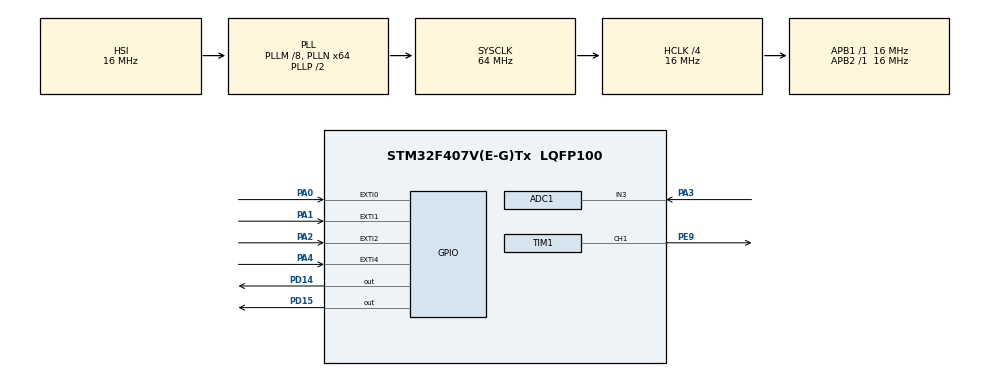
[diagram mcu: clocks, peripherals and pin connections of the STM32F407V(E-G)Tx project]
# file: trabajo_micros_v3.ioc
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ADC1.Channel-0\#ChannelRegularConversion=ADC_CHANNEL_3
ADC1.NbrOfConversionFlag=1
ADC1.Rank-0\#ChannelRegularConversion=1
ADC1.Resolution=ADC_RESOLUTION_8B
ADC1.SamplingTime-0\#ChannelRegularConversion=ADC_SAMPLETIME_3CYCLES
ADC1.master=1
Mcu.Family=STM32F4
Mcu.Name=STM32F407V(E-G)Tx
Mcu.Package=LQFP100
NVIC.EXTI0_IRQn=true\:0\:0\:false\:false\:true\:true\:true
NVIC.EXTI1_IRQn=true\:0\:0\:false\:false\:true\:true\:true
NVIC.EXTI2_IRQn=true\:0\:0\:false\:false\:true\:true\:true
NVIC.EXTI4_IRQn=true\:0\:0\:false\:false\:true\:true\:true
NVIC.PriorityGroup=NVIC_PRIORITYGROUP_0
PA0-WKUP.Signal=GPXTI0
PA1.Signal=GPXTI1
PA2.Signal=GPXTI2
PA3.Signal=ADCx_IN3
PA4.Signal=GPXTI4
PD14.Signal=GPIO_Output
PD15.Signal=GPIO_Output
PE9.Signal=S_TIM1_CH1
ProjectManager.HeapSize=0x200
ProjectManager.StackSize=0x400
ProjectManager.TargetToolchain=STM32CubeIDE
RCC.48MHZClocksFreq_Value=18285714.285714287
RCC.AHBCLKDivider=RCC_SYSCLK_DIV4
RCC.AHBFreq_Value=16000000
RCC.APB1Freq_Value=16000000
RCC.APB1TimFreq_Value=16000000
RCC.APB2Freq_Value=16000000
RCC.APB2TimFreq_Value=16000000
RCC.CortexFreq_Value=16000000
RCC.HCLKFreq_Value=16000000
RCC.HSE_VALUE=8000000
RCC.HSI_VALUE=16000000
RCC.LSE_VALUE=32768
RCC.PLLM=8
RCC.PLLN=64
RCC.PLLQ=7
RCC.SYSCLKFreq_VALUE=64000000
RCC.SYSCLKSource=RCC_SYSCLKSOURCE_PLLCLK
RCC.VCOOutputFreq_Value=128000000
SH.ADCx_IN3.0=ADC1_IN3,IN3
SH.S_TIM1_CH1.0=TIM1_CH1,PWM Generation1 CH1
TIM1.Channel-PWM\ Generation1\ CH1=TIM_CHANNEL_1
TIM1.Period=1000-1
TIM1.Prescaler=320-1
VP_TIM1_VS_ClockSourceINT.Mode=Internal
board=STM32F407G-DISC1

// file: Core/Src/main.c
/* USER CODE BEGIN Header */
/**
  ******************************************************************************
  * @file           : main.c
  * @brief          : Main program body
  ******************************************************************************
  * @attention
  *
  * Copyright (c) 2022 STMicroelectronics.
  * All rights reserved.
  *
  * This software is licensed under terms that can be found in the LICENSE file
  * in the root directory of this software component.
  * If no LICENSE file comes with this software, it is provided AS-IS.
  *
  ******************************************************************************
  */
/* USER CODE END Header */
#include "main.h"

/* USER CODE BEGIN Includes */
#define UMBRAL_LUMINOSIDAD_ALTA (200)
#define UMBRAL_LUMINOSIDAD_BAJA (40)
/* USER CODE END Includes */

ADC_HandleTypeDef hadc1;

TIM_HandleTypeDef htim1;

/* USER CODE BEGIN PV */
volatile int boton_auto = 0;
volatile int boton_manual = 0;
volatile int subir_ini = 0;
volatile int subir_fin = 0;
volatile int bajar_ini = 0;
volatile int bajar_fin = 0;
volatile int servo_fin_up = 0;
volatile int servo_fin_down = 0;
int adc_val_luminosidad;
/* USER CODE END PV */

void SystemClock_Config(void);
static void MX_GPIO_Init(void);
static void MX_ADC1_Init(void);
static void MX_TIM1_Init(void);
/* USER CODE BEGIN PFP */
void subirpersiana(void);
void bajarpersiana(void);
int servo_girar_up(int ini, int fin);
int servo_girar_down(int ini, int fin);
/* USER CODE END PFP */

/* USER CODE BEGIN 0 */
void HAL_GPIO_EXTI_Callback(uint16_t GPIO_Pin){		//gestion de las interrupciones

	if (GPIO_Pin==GPIO_PIN_0){		//Comprobación de la selección del modo automatica
			  boton_auto  = 1;
			  boton_manual = 0;
			  subir_ini = 0;
			  bajar_ini = 0;
	}

	else if(GPIO_Pin==GPIO_PIN_1){		//Comprobación de la selección del modo manual
				boton_auto  = 0;
				boton_manual = 1;
				subir_ini = 0;
				bajar_ini = 0;
	    }

	else if(GPIO_Pin==GPIO_PIN_2){		//gestion del boton externo para bajar la persiana
			if (boton_manual){
						boton_auto = 0;
						boton_manual = 1;
						subir_ini = 0;
						bajar_ini = 1;

			}
    	 }

	else if(GPIO_Pin==GPIO_PIN_4){    //gestion del boton externo de subir la persiana
			if (boton_manual){
						boton_auto  = 0;
						boton_manual = 1;
						subir_ini = 1;
						bajar_ini = 0;
		    }
	}
}

void subirpersiana(){
	HAL_TIM_PWM_Start(&htim1, TIM_CHANNEL_1);
	servo_fin_up = servo_girar_up(25,125);
	if (servo_fin_up){
		HAL_TIM_PWM_Stop(&htim1, TIM_CHANNEL_1);
		HAL_GPIO_WritePin(GPIOD, GPIO_PIN_14, GPIO_PIN_SET); //led que simboliza la persiana se apaga una vez se sube
		HAL_Delay(2000);
		HAL_GPIO_WritePin(GPIOD, GPIO_PIN_14, GPIO_PIN_RESET);
		subir_ini = 0;
		subir_fin = 1;
		bajar_fin = 0;
		servo_fin_up = 0;
	}

}
void bajarpersiana(){
	HAL_TIM_PWM_Start(&htim1, TIM_CHANNEL_1);
	servo_fin_down = servo_girar_down(125,25);
	if (servo_fin_down){
			HAL_TIM_PWM_Stop(&htim1, TIM_CHANNEL_1);
			HAL_GPIO_WritePin(GPIOD, GPIO_PIN_15, GPIO_PIN_SET); //led que simboliza la persiana se apaga una vez se sube
			HAL_Delay(2000);
			HAL_GPIO_WritePin(GPIOD, GPIO_PIN_15, GPIO_PIN_RESET);
			bajar_ini = 0;
			subir_fin = 0;
			bajar_fin = 1;
			servo_fin_down = 0;
		}
}
int servo_girar_up(int ini, int fin){

	while(ini<=fin){
		htim1.Instance->CCR1 = ini;
		ini++;
		HAL_Delay(25);
	}
	return 1;
}
int servo_girar_down(int ini, int fin){

	while(ini>=fin){
		htim1.Instance->CCR1 = ini;
		ini--;
		HAL_Delay(25);
	}
	return 1;
}
/* USER CODE END 0 */

int main(void)
{

  /* MCU Configuration--------------------------------------------------------*/

  /* Reset of all peripherals, Initializes the Flash interface and the Systick. */
  HAL_Init();

  /* Configure the system clock */
  SystemClock_Config();

  /* Initialize all configured peripherals */
  MX_GPIO_Init();
  MX_ADC1_Init();
  MX_TIM1_Init();
  /* USER CODE BEGIN 2 */
  HAL_TIM_PWM_Start(&htim1, TIM_CHANNEL_1);
  htim1.Instance->CCR1 = 25;
  bajar_fin = 1;
  HAL_Delay(100);
  HAL_TIM_PWM_Stop(&htim1, TIM_CHANNEL_1);
  HAL_Delay(100);

  /* USER CODE END 2 */

  /* Infinite loop */
  while (1)
  {

    /* USER CODE BEGIN 3 */
	  if (boton_manual){
	  	  		  if (subir_ini && !subir_fin){
	  	  			  subirpersiana();
	  	  		  }

	  	  		  if (bajar_ini && !bajar_fin){
	  	  			  bajarpersiana();
	  	  		  }
	  	  }

	  	  if (boton_auto){  //Automatico
	  	  		   HAL_ADC_Start(&hadc1);
	  	  	  	   if (HAL_ADC_PollForConversion(&hadc1, HAL_MAX_DELAY) == HAL_OK){
	  	  	  		   adc_val_luminosidad = HAL_ADC_GetValue(&hadc1);

	  	  	  		   if ((adc_val_luminosidad > UMBRAL_LUMINOSIDAD_ALTA) && !subir_fin){
	  	  	  		 	  		 subirpersiana();
	  	  	  		   }
	  	  	  		  if((adc_val_luminosidad < UMBRAL_LUMINOSIDAD_BAJA) && !bajar_fin) {
	  	  	  		 	  		 bajarpersiana();
	  	  	  		   }
	  	  	  	   }

	  	  	  	   HAL_ADC_Stop(&hadc1);

	  	  }
  }
  /* USER CODE END 3 */
}

void SystemClock_Config(void)
{
  RCC_OscInitTypeDef RCC_OscInitStruct = {0};
  RCC_ClkInitTypeDef RCC_ClkInitStruct = {0};

  /** Configure the main internal regulator output voltage
  */
  __HAL_RCC_PWR_CLK_ENABLE();
  __HAL_PWR_VOLTAGESCALING_CONFIG(PWR_REGULATOR_VOLTAGE_SCALE1);
  /** Initializes the RCC Oscillators according to the specified parameters
  * in the RCC_OscInitTypeDef structure.
  */
  RCC_OscInitStruct.OscillatorType = RCC_OSCILLATORTYPE_HSI;
  RCC_OscInitStruct.HSIState = RCC_HSI_ON;
  RCC_OscInitStruct.HSICalibrationValue = RCC_HSICALIBRATION_DEFAULT;
  RCC_OscInitStruct.PLL.PLLState = RCC_PLL_ON;
  RCC_OscInitStruct.PLL.PLLSource = RCC_PLLSOURCE_HSI;
  RCC_OscInitStruct.PLL.PLLM = 8;
  RCC_OscInitStruct.PLL.PLLN = 64;
  RCC_OscInitStruct.PLL.PLLP = RCC_PLLP_DIV2;
  RCC_OscInitStruct.PLL.PLLQ = 7;
  if (HAL_RCC_OscConfig(&RCC_OscInitStruct) != HAL_OK)
  {
    Error_Handler();
  }
  /** Initializes the CPU, AHB and APB buses clocks
  */
  RCC_ClkInitStruct.ClockType = RCC_CLOCKTYPE_HCLK|RCC_CLOCKTYPE_SYSCLK
                              |RCC_CLOCKTYPE_PCLK1|RCC_CLOCKTYPE_PCLK2;
  RCC_ClkInitStruct.SYSCLKSource = RCC_SYSCLKSOURCE_PLLCLK;
  RCC_ClkInitStruct.AHBCLKDivider = RCC_SYSCLK_DIV4;
  RCC_ClkInitStruct.APB1CLKDivider = RCC_HCLK_DIV1;
  RCC_ClkInitStruct.APB2CLKDivider = RCC_HCLK_DIV1;

  if (HAL_RCC_ClockConfig(&RCC_ClkInitStruct, FLASH_LATENCY_0) != HAL_OK)
  {
    Error_Handler();
  }
}

static void MX_ADC1_Init(void)
{

  ADC_ChannelConfTypeDef sConfig = {0};

  /** Configure the global features of the ADC (Clock, Resolution, Data Alignment and number of conversion)
  */
  hadc1.Instance = ADC1;
  hadc1.Init.ClockPrescaler = ADC_CLOCK_SYNC_PCLK_DIV2;
  hadc1.Init.Resolution = ADC_RESOLUTION_8B;
  hadc1.Init.ScanConvMode = DISABLE;
  hadc1.Init.ContinuousConvMode = DISABLE;
  hadc1.Init.DiscontinuousConvMode = DISABLE;
  hadc1.Init.ExternalTrigConvEdge = ADC_EXTERNALTRIGCONVEDGE_NONE;
  hadc1.Init.ExternalTrigConv = ADC_SOFTWARE_START;
  hadc1.Init.DataAlign = ADC_DATAALIGN_RIGHT;
  hadc1.Init.NbrOfConversion = 1;
  hadc1.Init.DMAContinuousRequests = DISABLE;
  hadc1.Init.EOCSelection = ADC_EOC_SINGLE_CONV;
  if (HAL_ADC_Init(&hadc1) != HAL_OK)
  {
    Error_Handler();
  }
  /** Configure for the selected ADC regular channel its corresponding rank in the sequencer and its sample time.
  */
  sConfig.Channel = ADC_CHANNEL_3;
  sConfig.Rank = 1;
  sConfig.SamplingTime = ADC_SAMPLETIME_3CYCLES;
  if (HAL_ADC_ConfigChannel(&hadc1, &sConfig) != HAL_OK)
  {
    Error_Handler();
  }

}

static void MX_TIM1_Init(void)
{

  TIM_ClockConfigTypeDef sClockSourceConfig = {0};
  TIM_MasterConfigTypeDef sMasterConfig = {0};
  TIM_OC_InitTypeDef sConfigOC = {0};
  TIM_BreakDeadTimeConfigTypeDef sBreakDeadTimeConfig = {0};

  htim1.Instance = TIM1;
  htim1.Init.Prescaler = 320-1;
  htim1.Init.CounterMode = TIM_COUNTERMODE_UP;
  htim1.Init.Period = 1000-1;
  htim1.Init.ClockDivision = TIM_CLOCKDIVISION_DIV1;
  htim1.Init.RepetitionCounter = 0;
  htim1.Init.AutoReloadPreload = TIM_AUTORELOAD_PRELOAD_DISABLE;
  if (HAL_TIM_Base_Init(&htim1) != HAL_OK)
  {
    Error_Handler();
  }
  sClockSourceConfig.ClockSource = TIM_CLOCKSOURCE_INTERNAL;
  if (HAL_TIM_ConfigClockSource(&htim1, &sClockSourceConfig) != HAL_OK)
  {
    Error_Handler();
  }
  if (HAL_TIM_PWM_Init(&htim1) != HAL_OK)
  {
    Error_Handler();
  }
  sMasterConfig.MasterOutputTrigger = TIM_TRGO_RESET;
  sMasterConfig.MasterSlaveMode = TIM_MASTERSLAVEMODE_DISABLE;
  if (HAL_TIMEx_MasterConfigSynchronization(&htim1, &sMasterConfig) != HAL_OK)
  {
    Error_Handler();
  }
  sConfigOC.OCMode = TIM_OCMODE_PWM1;
  sConfigOC.Pulse = 0;
  sConfigOC.OCPolarity = TIM_OCPOLARITY_HIGH;
  sConfigOC.OCNPolarity = TIM_OCNPOLARITY_HIGH;
  sConfigOC.OCFastMode = TIM_OCFAST_DISABLE;
  sConfigOC.OCIdleState = TIM_OCIDLESTATE_RESET;
  sConfigOC.OCNIdleState = TIM_OCNIDLESTATE_RESET;
  if (HAL_TIM_PWM_ConfigChannel(&htim1, &sConfigOC, TIM_CHANNEL_1) != HAL_OK)
  {
    Error_Handler();
  }
  sBreakDeadTimeConfig.OffStateRunMode = TIM_OSSR_DISABLE;
  sBreakDeadTimeConfig.OffStateIDLEMode = TIM_OSSI_DISABLE;
  sBreakDeadTimeConfig.LockLevel = TIM_LOCKLEVEL_OFF;
  sBreakDeadTimeConfig.DeadTime = 0;
  sBreakDeadTimeConfig.BreakState = TIM_BREAK_DISABLE;
  sBreakDeadTimeConfig.BreakPolarity = TIM_BREAKPOLARITY_HIGH;
  sBreakDeadTimeConfig.AutomaticOutput = TIM_AUTOMATICOUTPUT_DISABLE;
  if (HAL_TIMEx_ConfigBreakDeadTime(&htim1, &sBreakDeadTimeConfig) != HAL_OK)
  {
    Error_Handler();
  }
  HAL_TIM_MspPostInit(&htim1);

}

static void MX_GPIO_Init(void)
{
  GPIO_InitTypeDef GPIO_InitStruct = {0};

  /* GPIO Ports Clock Enable */
  __HAL_RCC_GPIOA_CLK_ENABLE();
  __HAL_RCC_GPIOE_CLK_ENABLE();
  __HAL_RCC_GPIOD_CLK_ENABLE();

  /*Configure GPIO pin Output Level */
  HAL_GPIO_WritePin(GPIOD, GPIO_PIN_14|GPIO_PIN_15, GPIO_PIN_RESET);

  /*Configure GPIO pins : PA0 PA1 PA2 PA4 */
  GPIO_InitStruct.Pin = GPIO_PIN_0|GPIO_PIN_1|GPIO_PIN_2|GPIO_PIN_4;
  GPIO_InitStruct.Mode = GPIO_MODE_IT_RISING;
  GPIO_InitStruct.Pull = GPIO_NOPULL;
  HAL_GPIO_Init(GPIOA, &GPIO_InitStruct);

  /*Configure GPIO pins : PD14 PD15 */
  GPIO_InitStruct.Pin = GPIO_PIN_14|GPIO_PIN_15;
  GPIO_InitStruct.Mode = GPIO_MODE_OUTPUT_PP;
  GPIO_InitStruct.Pull = GPIO_NOPULL;
  GPIO_InitStruct.Speed = GPIO_SPEED_FREQ_LOW;
  HAL_GPIO_Init(GPIOD, &GPIO_InitStruct);

  /* EXTI interrupt init*/
  HAL_NVIC_SetPriority(EXTI0_IRQn, 0, 0);
  HAL_NVIC_EnableIRQ(EXTI0_IRQn);

  HAL_NVIC_SetPriority(EXTI1_IRQn, 0, 0);
  HAL_NVIC_EnableIRQ(EXTI1_IRQn);

  HAL_NVIC_SetPriority(EXTI2_IRQn, 0, 0);
  HAL_NVIC_EnableIRQ(EXTI2_IRQn);

  HAL_NVIC_SetPriority(EXTI4_IRQn, 0, 0);
  HAL_NVIC_EnableIRQ(EXTI4_IRQn);

}

void Error_Handler(void)
{
  __disable_irq();
  while (1)
  {
  }
}
